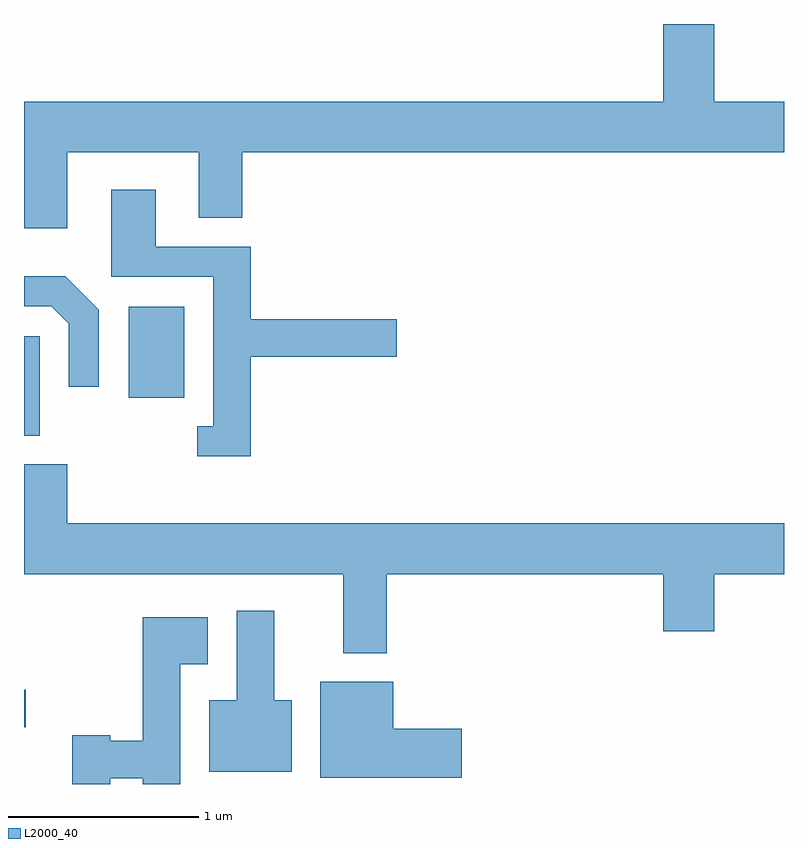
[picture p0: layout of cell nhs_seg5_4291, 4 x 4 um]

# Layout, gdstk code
import gdstk
lib = gdstk.Library(unit=1e-6, precision=1e-09)
def R(c, l, rs):  # rectangles x0, y0, x1, y1
    for r in rs: c.add(gdstk.rectangle(r[:2], r[2:], *l))
def P(c, l, *ps):  # polygons
    for p in ps: c.add(gdstk.Polygon(p, *l))
L2000_40 = (2000, 40)

nhs_seg5_4291 = lib.new_cell('nhs_seg5_4291')
R(nhs_seg5_4291, L2000_40, [(311.611,1520.371,311.619,1520.569), (311.611,1521.906,311.694,1522.429), (312.161,1522.106,312.454,1522.584)])
P(nhs_seg5_4291, L2000_40, [(311.839,1523.396),(312.531,1523.396),(312.531,1523.051),(312.759,1523.051),(312.759,1523.396),(315.611,1523.396),(315.611,1523.664),(315.244,1523.664),(315.244,1524.072),(314.976,1524.072),(314.976,1523.664),(311.611,1523.664),(311.611,1522.996),(311.839,1522.996)],
  [(312.804,1522.321),(313.574,1522.321),(313.574,1522.519),(312.804,1522.519),(312.804,1522.899),(312.304,1522.899),(312.304,1523.199),(312.071,1523.199),(312.071,1522.741),(312.606,1522.741),(312.606,1521.954),(312.523,1521.954),(312.523,1521.796),(312.804,1521.796)],
  [(312.004,1522.567),(311.827,1522.744),(311.611,1522.744),(311.611,1522.586),(311.754,1522.586),(311.846,1522.494),(311.846,1522.163),(312.004,1522.163)],
  [(313.519,1521.176),(314.976,1521.176),(314.976,1520.876),(315.244,1520.876),(315.244,1521.176),(315.611,1521.176),(315.611,1521.444),(311.839,1521.444),(311.839,1521.754),(311.611,1521.754),(311.611,1521.176),(313.291,1521.176),(313.291,1520.761),(313.519,1520.761)],
  [(313.019,1520.514),(312.929,1520.514),(312.929,1520.984),(312.731,1520.984),(312.731,1520.514),(312.586,1520.514),(312.586,1520.136),(313.019,1520.136)],
  [(312.064,1520.101),(312.236,1520.101),(312.236,1520.072),(312.434,1520.072),(312.434,1520.701),(312.579,1520.701),(312.579,1520.949),(312.236,1520.949),(312.236,1520.299),(312.064,1520.299),(312.064,1520.329),(311.866,1520.329),(311.866,1520.072),(312.064,1520.072)],
  [(313.914,1520.364),(313.554,1520.364),(313.554,1520.609),(313.171,1520.609),(313.171,1520.106),(313.914,1520.106)])

lib.write_gds('nhs_seg5_4291.gds')
